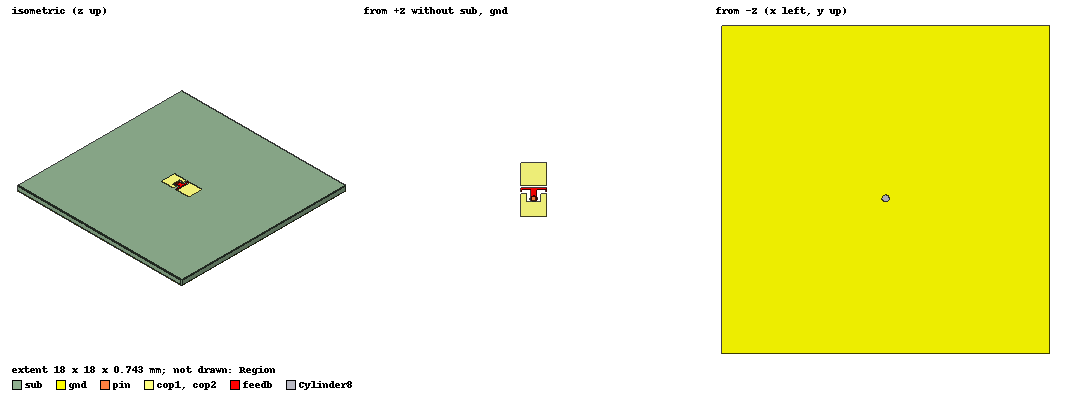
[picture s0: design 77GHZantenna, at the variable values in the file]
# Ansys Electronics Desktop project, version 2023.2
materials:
  vacuum: permittivity=1
  Rogers RT/duroid 5880 (tm): permittivity=2.2 dielectric_loss_tangent=0.0009
  copper: permeability=0.999991 conductivity=58000000
  pec: conductivity=1e+30
  air: permittivity=1.0006 permeability=1.0000004

design 77GHZantenna (HFSS, HFSS Modal Network, model units mm)
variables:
  w = 1.42mm
  h = 0.508mm
  tcop = 0.0175mm
  l1 = 1.3mm
  l2 = 0.4mm
  gndw = 18mm
  r1 = 0.125mm
  via_offset = l2/2+d1
  viagap = 0.55mm
  ws = wp+g3
  ls = lp+offset
  wp = 0.37mm
  lp = 0.6mm
  e2 = 0.19mm
  offset = -0.01mm
  e1 = 0.05mm
  lsub = 0.08mm
  d = -0.01mm
  d1 = 0.275mm
  g3 = 0.4mm
  g4 = 0.05mm
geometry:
  sub [Rogers RT/duroid 5880 (tm)] = box(corner=(-gndw/2, -gndw/2, 0mm), size=(gndw, gndw, h))
  cop1 [copper] = box(corner=(-w/2, -l2/2-l1, h), size=(w, l1, tcop))
  cop2 [copper] = box(corner=(-w/2, l2/2, h), size=(w, l1, tcop))
  via1_1 [copper] = cylinder(axis=Z, base_centre=(0mm, via_offset, 0), radius=r1+0.02mm, height=h)
  via2_1 [copper] = cylinder(axis=Z, base_centre=(-viagap, via_offset, 0), radius=r1+0.02mm, height=h)
  via3_1 [copper] = cylinder(axis=Z, base_centre=(viagap, via_offset, 0), radius=r1+0.02mm, height=h)
  vialeft [copper] = via2_1.duplicate_mirror(point=(0mm, 0mm, 0mm), normal=(0mm, -1mm, 0mm))
  vialeft_1 [copper] = via3_1.duplicate_mirror(point=(0mm, 0mm, 0mm), normal=(0mm, -1mm, 0mm))
  via10 = cylinder(axis=Z, base_centre=(0mm, via_offset, -tcop), radius=r1, height=h+2*tcop)
  via11 = cylinder(axis=Z, base_centre=(- viagap, via_offset, -tcop), radius=r1, height=h+2*tcop)
  via12 = cylinder(axis=Z, base_centre=(viagap, via_offset, -tcop), radius=r1, height=h+2*tcop)
  via12_1 = via12.duplicate_mirror(point=(0mm, -5.7843246e-05mm, 0mm), normal=(0mm, -1mm, 0mm))
  via11_1 = via11.duplicate_mirror(point=(0mm, -5.7843246e-05mm, 0mm), normal=(0mm, -1mm, 0mm))
  sub.subtract(via10, via11, via11_1, via12, via12_1)
  Box1 = box(corner=(-ws/2, -l2/2, h), size=(ws, -(lp-l2/2+g4), tcop))
  feeda = box(corner=(-wp/2, -lp, h), size=(wp, lp, tcop))
  feedb [copper] = box(corner=(-w/2, offset-e2/2, h), size=(w, e2, tcop))
  subtract = box(corner=(-(w-2*e1)/2, offset-e2/2, h), size=(w-2*e1, lsub, tcop))
  feedb.subtract(subtract)
  Cylinder5 = cylinder(axis=Z, base_centre=(0mm, -via_offset+d, -tcop), radius=r1, height=h+2*tcop)
  Cylinder6 [copper] = cylinder(axis=Z, base_centre=(0mm, -via_offset+d, -tcop), radius=r1+0.02mm, height=h+2*tcop)
  Cylinder6_1 = Cylinder6.copy()
  feeda.subtract(Cylinder6_1)
  Cylinder6_3 = Cylinder6.copy()
  sub.subtract(Cylinder6_3)
  pin [copper] = cylinder(axis=Z, base_centre=(0mm, -via_offset+d, -tcop-0.1mm), radius=r1, height=h+0.1mm)
  vialeft_2 = vialeft.copy()
  vialeft_1_1 = vialeft_1.copy()
  sub.subtract(vialeft_2, vialeft_1_1)
  Region [air] = region(absolute_offset=2mm on all sides)
  Cylinder6.subtract(Cylinder5)
  via1_1_3 = via1_1.copy()
  via2_1_3 = via2_1.copy()
  via3_1_3 = via3_1.copy()
  sub.subtract(via1_1_3, via2_1_3, via3_1_3)
  Cylinder7 [vacuum] = cylinder(axis=Z, base_centre=(0mm, -via_offset +d, -tcop-0.1mm), radius=0.2mm, height=0.1mm)
  Cylinder8 [pec] = cylinder(axis=Z, base_centre=(0mm, -via_offset+d, -tcop-0.2mm), radius=0.2mm, height=0.1mm)
  pin_1 = pin.copy()
  Cylinder7.subtract(pin_1)
  feedb.unite(feeda)
  gnd [copper] = box(corner=(-gndw/2, -gndw/2, -tcop), size=(gndw, gndw, tcop))
  Cylinder14 = cylinder(axis=Z, base_centre=(0mm, -via_offset+d, -tcop), radius=0.2mm, height=tcop)
  Cylinder15 = cylinder(axis=Z, base_centre=(0mm, -via_offset+d, h), radius=r1+0.02mm, height=tcop)
  Cylinder6.subtract(Cylinder15)
  Cylinder21 = cylinder(axis=Z, base_centre=(0mm, -via_offset+d, -tcop), radius=r1+0.02mm, height=tcop)
  Cylinder6.subtract(Cylinder21)
  gnd.subtract(Cylinder14)
  cop1.subtract(Box1)
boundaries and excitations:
  Rad1: Radiation Objects=Region
  PerfE2: Perfect E Faces=Cylinder7.face(side)
  1: Lumped Port Faces=Cylinder7.face(-z end) LumpedPortType=Modal Modes{Mode1{IntLine{(0, -0.36, -0.1175) -> (0, -0.285, -0.1175)} CharImp=Zpi RenormImp=50ohm}} Impedance=50ohm
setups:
  Setup1: HfssDriven Frequency=77GHz MaxDeltaS=0.05 MaximumPasses=15 MinimumPasses=1 MinimumConvergedPasses=1 PercentRefinement=30 BasisOrder=1 PortAccuracy=2 DrivenSolverType="Direct Solver"
    sweep Sweep: 60GHz to 100GHz, 100 points; Type=Fast SaveFields
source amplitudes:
  1:1: 1W 0deg
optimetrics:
  ParametricSetup1: Parametric Sim._Setups=[Setup1]
    sweep e2: LIN 0.18mm 0.2mm 0.01mm
  R1_radiator: Parametric Sim._Setups=[Setup1]
    sweep l1: 0.6mm 1.3mm 2.0mm
    sweep l2: 0.25mm 0.625mm 1.0mm
    sweep w: 0.8mm 1.65mm 2.5mm
  R2_wl1: Parametric Sim._Setups=[Setup1]
    sweep w: 1.0mm 1.15mm 1.3mm 1.45mm
    sweep l1: 0.6mm 1.3mm 2.0mm
  R3_l2w: Parametric Sim._Setups=[Setup1]
    sweep l2: 0.3mm 0.4mm 0.5mm 0.6mm
    sweep w: 1.2mm 1.5mm 1.8mm 2.1mm
  R4_d1g3: Parametric Sim._Setups=[Setup1]
    sweep d1: 0.1mm 0.275mm 0.45mm
    sweep g3: 0.05mm 0.2mm 0.4mm
  R5_l2w2: Parametric Sim._Setups=[Setup1]
    sweep l2: 0.3mm 0.4mm 0.5mm
    sweep w: 1.0mm 1.3mm 1.6mm
  R6_l2w3: Parametric Sim._Setups=[Setup1]
    sweep l2: 0.35mm 0.4mm 0.45mm
    sweep w: 1.35mm 1.45mm 1.55mm
  R7_wpe1: Parametric Sim._Setups=[Setup1]
    sweep wp: 0.25mm 0.6mm 0.9mm
    sweep e1: 0.05mm 0.2mm 0.35mm
  R8_d1l1: Parametric Sim._Setups=[Setup1]
    sweep d1: 0.2mm 0.2375mm 0.275mm
    sweep l1: 1.1mm 1.2mm 1.3mm
  R9_lpw: Parametric Sim._Setups=[Setup1]
    sweep lp: 0.4mm 0.5mm 0.6mm
    sweep w: 1.4mm 1.45mm 1.5mm
  R10_e1wp: Parametric Sim._Setups=[Setup1]
    sweep e1: 0.05mm 0.16mm 0.25mm 0.35mm
    sweep wp: 0.35mm 0.4mm 0.5mm
  R11_wpl2: Parametric Sim._Setups=[Setup1]
    sweep wp: 0.32mm 0.35mm 0.38mm
    sweep l2: 0.38mm 0.4mm 0.42mm
  R12_l2wp: Parametric Sim._Setups=[Setup1]
    sweep l2: 0.4mm 0.41mm 0.42mm
    sweep wp: 0.36mm 0.38mm
  R13_d1wp: Parametric Sim._Setups=[Setup1]
    sweep d1: 0.26mm 0.275mm 0.29mm
    sweep wp: 0.36mm 0.37mm
  R14_wwp: Parametric Sim._Setups=[Setup1]
    sweep w: 1.4mm 1.42mm
    sweep wp: 0.36mm 0.37mm
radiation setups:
  Infinite Sphere1: Infinite Sphere Theta=0deg..180deg step 2deg Phi=-180deg..180deg step 2deg
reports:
  S Parameter Plot 1: dB(S(1,1)) vs Freq on Setup1 : Sweep [e2=all]; markers MY1 at y=-15
  R1_radiator_S11: dB(S(1,1)) vs Freq on Setup1 : Sweep [l1=all l2=all w=all]
  R2_wl1_S11: dB(S(1,1)) vs Freq on Setup1 : Sweep [w=all l1=all]
  R3_l2w_S11: dB(S(1,1)) vs Freq on Setup1 : Sweep [l2=all w=all]
  R4_d1g3_S11: dB(S(1,1)) vs Freq on Setup1 : Sweep [d1=all g3=all]
  R5_l2w2_S11: dB(S(1,1)) vs Freq on Setup1 : Sweep [l2=all w=all]
  R6_l2w3_S11: dB(S(1,1)) vs Freq on Setup1 : Sweep [l2=all w=all]
  R7_wpe1_S11: dB(S(1,1)) vs Freq on Setup1 : Sweep [wp=all e1=all]
  R8_d1l1_S11: dB(S(1,1)) vs Freq on Setup1 : Sweep [d1=all l1=all]
  baseline_Z: re(Zt(1,1)), im(Zt(1,1)) vs Freq on Setup1 : Sweep
  R9_lpw_S11: dB(S(1,1)) vs Freq on Setup1 : Sweep [lp=all w=all]
  R10_e1wp_S11: dB(S(1,1)) vs Freq on Setup1 : Sweep [e1=all wp=all]
  R11_wpl2_S11: dB(S(1,1)) vs Freq on Setup1 : Sweep [wp=all l2=all]
  R12_l2wp_S11: dB(S(1,1)) vs Freq on Setup1 : Sweep [l2=all wp=all]
  R13_d1wp_S11: dB(S(1,1)) vs Freq on Setup1 : Sweep [d1=all wp=all]
  R14_wwp_S11: dB(S(1,1)) vs Freq on Setup1 : Sweep [w=all wp=all]
  final_S11: dB(S(1,1)) vs Freq on Setup1 : Sweep
  final_Z: re(Zt(1,1)), im(Zt(1,1)) vs Freq on Setup1 : Sweep
  Gain Plot 1: dB(GainTotal) vs Phi, Theta on Setup1 : LastAdaptive, Infinite Sphere1 [Freq=77GHz]
